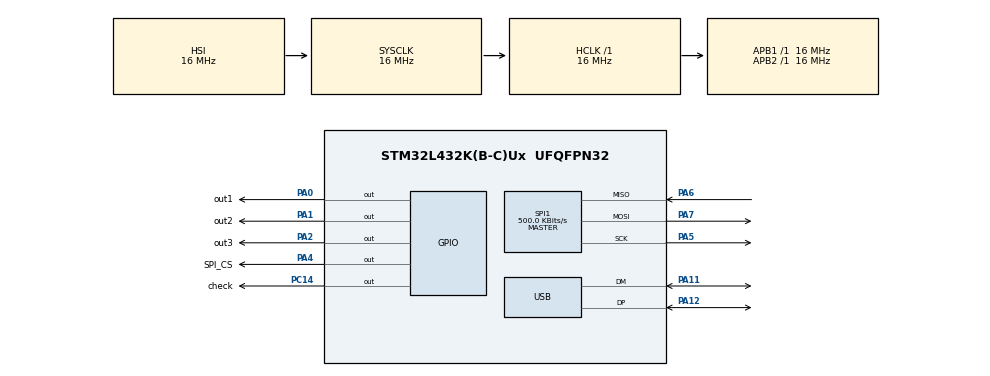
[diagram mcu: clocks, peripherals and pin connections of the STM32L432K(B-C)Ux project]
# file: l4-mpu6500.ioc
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Mcu.Family=STM32L4
Mcu.Name=STM32L432K(B-C)Ux
Mcu.Package=UFQFPN32
NVIC.PriorityGroup=NVIC_PRIORITYGROUP_4
NVIC.USB_IRQn=true\:0\:0\:false\:false\:true\:false\:true\:true
PA0.GPIO_Label=out1
PA0.GPIO_ModeDefaultOutputPP=GPIO_MODE_OUTPUT_OD
PA0.GPIO_PuPd=GPIO_NOPULL
PA0.PinState=GPIO_PIN_RESET
PA0.Signal=GPIO_Output
PA1.GPIO_Label=out2
PA1.GPIO_ModeDefaultOutputPP=GPIO_MODE_OUTPUT_OD
PA1.GPIO_PuPd=GPIO_NOPULL
PA1.PinState=GPIO_PIN_RESET
PA1.Signal=GPIO_Output
PA11.Mode=Device
PA11.Signal=USB_DM
PA12.Mode=Device
PA12.Signal=USB_DP
PA13\ (JTMS-SWDIO).Mode=Serial_Wire
PA13\ (JTMS-SWDIO).Signal=SYS_JTMS-SWDIO
PA14\ (JTCK-SWCLK).Mode=Serial_Wire
PA14\ (JTCK-SWCLK).Signal=SYS_JTCK-SWCLK
PA2.GPIO_Label=out3
PA2.GPIO_ModeDefaultOutputPP=GPIO_MODE_OUTPUT_OD
PA2.GPIO_PuPd=GPIO_NOPULL
PA2.PinState=GPIO_PIN_RESET
PA2.Signal=GPIO_Output
PA4.GPIO_Label=SPI_CS
PA4.PinState=GPIO_PIN_RESET
PA4.Signal=GPIO_Output
PA5.Mode=Full_Duplex_Master
PA5.Signal=SPI1_SCK
PA6.Mode=Full_Duplex_Master
PA6.Signal=SPI1_MISO
PA7.Mode=Full_Duplex_Master
PA7.Signal=SPI1_MOSI
PC14-OSC32_IN\ (PC14).GPIO_Label=check
PC14-OSC32_IN\ (PC14).Signal=GPIO_Output
ProjectManager.HeapSize=0x400
ProjectManager.StackSize=0x800
ProjectManager.TargetToolchain=MDK-ARM V5.32
RCC.ADCFreq_Value=96000000
RCC.AHBFreq_Value=16000000
RCC.APB1Freq_Value=16000000
RCC.APB1TimFreq_Value=16000000
RCC.APB2Freq_Value=16000000
RCC.APB2TimFreq_Value=16000000
RCC.CortexFreq_Value=16000000
RCC.HCLKFreq_Value=16000000
RCC.HSE_VALUE=8000000
RCC.HSI48_VALUE=48000000
RCC.HSI_VALUE=16000000
RCC.LSE_VALUE=32768
RCC.MSI_VALUE=4000000
RCC.PLLN=40
RCC.PLLSAI1N=48
RCC.PLLSAI1Q=RCC_PLLQ_DIV4
RCC.SYSCLKFreq_VALUE=16000000
RCC.SYSCLKSource=RCC_SYSCLKSOURCE_HSI
RCC.USBFreq_Value=48000000
RCC.VCOOutputFreq_Value=160000000
SPI1.BaudRatePrescaler=SPI_BAUDRATEPRESCALER_32
SPI1.CLKPhase=SPI_PHASE_2EDGE
SPI1.CLKPolarity=SPI_POLARITY_HIGH
SPI1.CalculateBaudRate=500.0 KBits/s
SPI1.DataSize=SPI_DATASIZE_8BIT
SPI1.Direction=SPI_DIRECTION_2LINES
SPI1.Mode=SPI_MODE_MASTER
SPI1.VirtualType=VM_MASTER
USB_DEVICE.CLASS_NAME_FS=CDC
USB_DEVICE.VirtualMode=Cdc
USB_DEVICE.VirtualModeFS=Cdc_FS
VP_USB_DEVICE_VS_USB_DEVICE_CDC_FS.Mode=CDC_FS
board=custom

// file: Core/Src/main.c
/* USER CODE BEGIN Header */
/**
  ******************************************************************************
  * @file           : main.c
  * @brief          : Main program body
  ******************************************************************************
  * @attention
  *
  * Copyright (c) 2023 STMicroelectronics.
  * All rights reserved.
  *
  * This software is licensed under terms that can be found in the LICENSE file
  * in the root directory of this software component.
  * If no LICENSE file comes with this software, it is provided AS-IS.
  *
  ******************************************************************************
  */
/* USER CODE END Header */
#include "main.h"
#include "spi.h"
#include "usb_device.h"
#include "gpio.h"

/* USER CODE BEGIN Includes */
#include <stdint.h>
#include "usbd_cdc_if.h"
#include "MPU6500.h"
#include "math.h"
/* USER CODE END Includes */

void SystemClock_Config(void);

/* USER CODE BEGIN 0 */

void mpu6500_delay_ms(int ms)
{
  HAL_Delay(ms);
}
void hal_spi_init()
{
}
void hal_spi_read(unsigned char addr, unsigned char *buffer, int len)
{
  uint8_t a = addr + (1 << 7);

  HAL_GPIO_WritePin(SPI_CS_GPIO_Port, SPI_CS_Pin, 0);
  HAL_SPI_Transmit(&hspi1, &a, 1, HAL_MAX_DELAY);
  HAL_SPI_Receive(&hspi1, buffer, len, HAL_MAX_DELAY);
  HAL_GPIO_WritePin(SPI_CS_GPIO_Port, SPI_CS_Pin, 1);
}
void hal_spi_write(unsigned char addr, unsigned char *buffer, int len)
{
  uint8_t a = addr + (0 << 7);

  HAL_GPIO_WritePin(SPI_CS_GPIO_Port, SPI_CS_Pin, 0);
  HAL_SPI_Transmit(&hspi1, &a, 1, HAL_MAX_DELAY);
  HAL_SPI_Transmit(&hspi1, buffer, len, HAL_MAX_DELAY);
  HAL_GPIO_WritePin(SPI_CS_GPIO_Port, SPI_CS_Pin, 1);
}

// ??????��???����???
void mget_ms(unsigned long *time) {}
void delay_ms(int ms)
{
  HAL_Delay(ms);
}
// ?��??HAL???????
uint8_t i2c_write(unsigned char slave_addr, unsigned char reg_addr, unsigned char length, unsigned char const *data)
{
  int res = 0;
  hal_spi_write(reg_addr, (uint8_t *)data, length);
  return res;
}
uint8_t i2c_read(unsigned char slave_addr, unsigned char reg_addr, unsigned char length, unsigned char *data)
{
  int res = 0;
  hal_spi_read(reg_addr, (uint8_t *)data, length);
  return res;
}

#include <stdarg.h>
void usb_printf(const char *format, ...)
{
  uint8_t UserTxBufferFS[2048];
  va_list args;
  uint32_t length;

  va_start(args, format);
  length = vsnprintf((char *)UserTxBufferFS, APP_TX_DATA_SIZE, (char *)format, args);
  va_end(args);
  CDC_Transmit_FS(UserTxBufferFS, length);
}
void io_send(){
	HAL_GPIO_WritePin(out1_GPIO_Port, out1_Pin, 0);
  //HAL_GPIO_WritePin(out2_GPIO_Port, out2_Pin, 0);
  //HAL_GPIO_WritePin(out3_GPIO_Port, out3_Pin, 0);
	HAL_GPIO_WritePin(check_GPIO_Port, check_Pin, 0);
}
void io_init(){
  HAL_GPIO_WritePin(out1_GPIO_Port, out1_Pin, 1);
  //HAL_GPIO_WritePin(out2_GPIO_Port, out2_Pin, 1);
  //HAL_GPIO_WritePin(out3_GPIO_Port, out3_Pin, 1);
	HAL_GPIO_WritePin(check_GPIO_Port, check_Pin, 1);
}
float g=0;
int att=0;
/* USER CODE END 0 */

int main(void)
{

  /* MCU Configuration--------------------------------------------------------*/

  /* Reset of all peripherals, Initializes the Flash interface and the Systick. */
  HAL_Init();

  /* Configure the system clock */
  SystemClock_Config();

  /* Initialize all configured peripherals */
  MX_GPIO_Init();
  MX_SPI1_Init();
  MX_USB_DEVICE_Init();

  /* Infinite loop */
  /* USER CODE BEGIN WHILE */
  float gyro_buffer[3], acc_buffer[3];

  /* ???MPU6500 */
  MPU6500_Init();

    MPU6500_get_buffer(gyro_buffer, acc_buffer);
     g = sqrtf((acc_buffer[0]) * (acc_buffer[0]) +
                    (acc_buffer[1]) * (acc_buffer[1]) +
                    (acc_buffer[2]) * (acc_buffer[2]));

	io_init();
	HAL_Delay(100);

 while (1)
  {
    usb_printf("=============\n");
    /* ???????????? */
    MPU6500_get_buffer(gyro_buffer, acc_buffer);
     g = sqrtf((acc_buffer[0]) * (acc_buffer[0]) +
                    (acc_buffer[1]) * (acc_buffer[1]) +
                    (acc_buffer[2]) * (acc_buffer[2]));
     if (g < 0.6)
     {
       io_send();
			 usb_printf("g<0.6\n");
			 att=1;
    }
		usb_printf("g:%f,%d\n",g,att);
		if(att){
			usb_printf("===== action over ========\n");
		}
//          HAL_GPIO_WritePin(out1_GPIO_Port, out1_Pin, 1);
//      HAL_GPIO_WritePin(out2_GPIO_Port, out2_Pin, 1);
//      HAL_GPIO_WritePin(out3_GPIO_Port, out3_Pin, 1);
    /* USER CODE END WHILE */

    /* USER CODE BEGIN 3 */
    //HAL_GPIO_TogglePin(debug_GPIO_Port,debug_Pin);

	//HAL_GPIO_TogglePin(check_GPIO_Port, check_Pin);
    //HAL_Delay(500);
  }
  /* USER CODE END 3 */
}

void SystemClock_Config(void)
{
  RCC_OscInitTypeDef RCC_OscInitStruct = {0};
  RCC_ClkInitTypeDef RCC_ClkInitStruct = {0};

  /** Configure the main internal regulator output voltage
  */
  if (HAL_PWREx_ControlVoltageScaling(PWR_REGULATOR_VOLTAGE_SCALE1) != HAL_OK)
  {
    Error_Handler();
  }

  /** Initializes the RCC Oscillators according to the specified parameters
  * in the RCC_OscInitTypeDef structure.
  */
  RCC_OscInitStruct.OscillatorType = RCC_OSCILLATORTYPE_HSI|RCC_OSCILLATORTYPE_MSI;
  RCC_OscInitStruct.HSIState = RCC_HSI_ON;
  RCC_OscInitStruct.HSICalibrationValue = RCC_HSICALIBRATION_DEFAULT;
  RCC_OscInitStruct.MSIState = RCC_MSI_ON;
  RCC_OscInitStruct.MSICalibrationValue = 0;
  RCC_OscInitStruct.MSIClockRange = RCC_MSIRANGE_6;
  RCC_OscInitStruct.PLL.PLLState = RCC_PLL_NONE;
  if (HAL_RCC_OscConfig(&RCC_OscInitStruct) != HAL_OK)
  {
    Error_Handler();
  }

  /** Initializes the CPU, AHB and APB buses clocks
  */
  RCC_ClkInitStruct.ClockType = RCC_CLOCKTYPE_HCLK|RCC_CLOCKTYPE_SYSCLK
                              |RCC_CLOCKTYPE_PCLK1|RCC_CLOCKTYPE_PCLK2;
  RCC_ClkInitStruct.SYSCLKSource = RCC_SYSCLKSOURCE_HSI;
  RCC_ClkInitStruct.AHBCLKDivider = RCC_SYSCLK_DIV1;
  RCC_ClkInitStruct.APB1CLKDivider = RCC_HCLK_DIV1;
  RCC_ClkInitStruct.APB2CLKDivider = RCC_HCLK_DIV1;

  if (HAL_RCC_ClockConfig(&RCC_ClkInitStruct, FLASH_LATENCY_0) != HAL_OK)
  {
    Error_Handler();
  }
}

void Error_Handler(void)
{
  __disable_irq();
  while (1)
  {
  }
}
